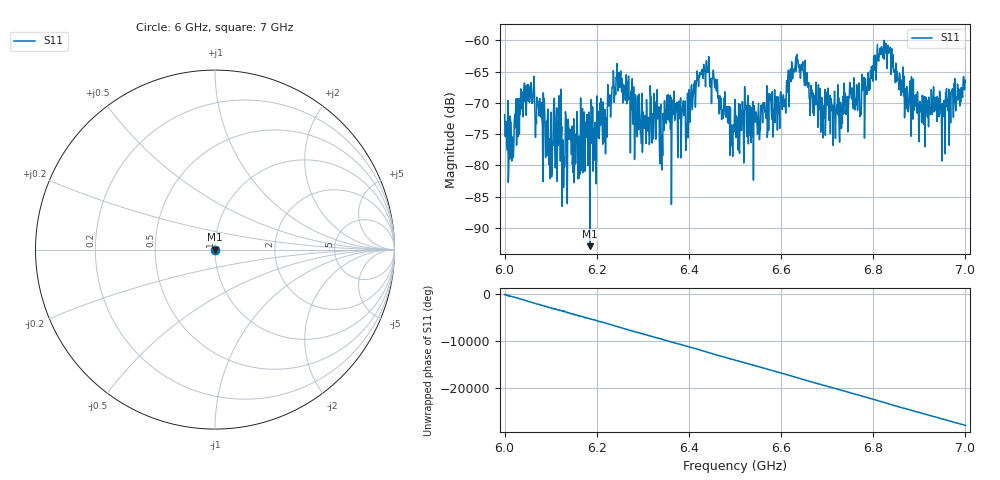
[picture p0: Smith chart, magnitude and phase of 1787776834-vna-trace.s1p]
! Created with skrf 1.10.0 (http://scikit-rf.org).
# Hz S RI R 50.0
!freq ReS11 ImS11
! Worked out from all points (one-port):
!   1001 points, 6 GHz to 7 GHz, reference 50 ohm
!   lowest |S11| = -92.9 dB at 6.185 GHz (marker M1), VSWR 1.00, Z = 50 + j9.64e-05 ohm
!   |S11| at or under -10 dB: start of sweep to end of sweep
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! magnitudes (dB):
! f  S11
! 6 GHz  -71.9
! 6.013 GHz  -73.0
! 6.053 GHz  -67.8
! 6.1 GHz  -72.6
! 6.117 GHz  -71.1
! 6.125 GHz  -86.6
! 6.185 GHz  -92.9
! 6.217 GHz  -72.2
! 6.25 GHz  -67.6
! 6.3 GHz  -75.7
! 6.329 GHz  -72.0
! 6.341 GHz  -80.7
! 6.352 GHz  -68.9
! 6.375 GHz  -72.8
! 6.398 GHz  -75.6
! 6.421 GHz  -67.4
! 6.439 GHz  -65.1
! 6.5 GHz  -69.4
! 6.587 GHz  -73.2
! 6.625 GHz  -66.2
! 6.639 GHz  -63.9
! 6.691 GHz  -75.6
! 6.75 GHz  -68.4
! 6.786 GHz  -68.6
! 6.828 GHz  -61.4
! 6.875 GHz  -70.4
! 6.951 GHz  -72.2
! 7 GHz  -66.7
